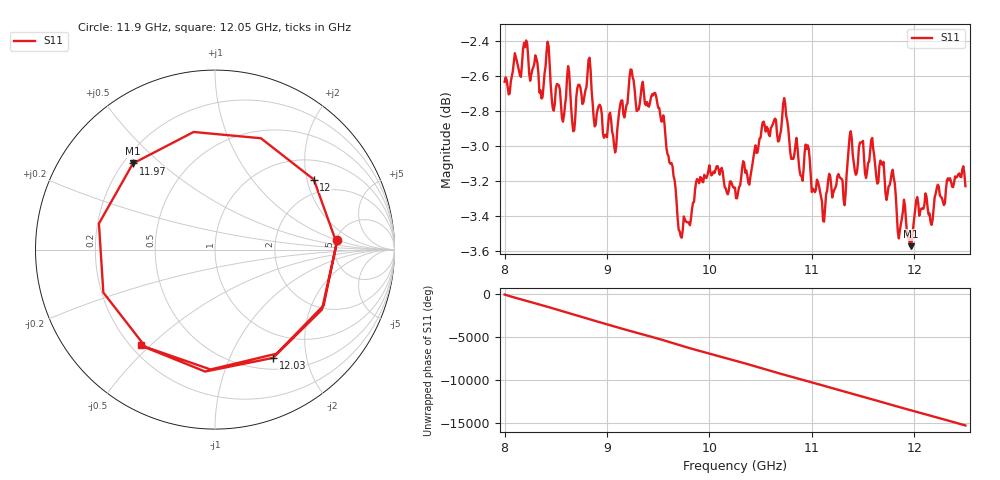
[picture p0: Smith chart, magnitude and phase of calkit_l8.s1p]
#  HZ  S  RI  R  50.00
! Rohde & Schwarz Vector Network Analyzer
! Rohde-Schwarz,ZNA43-4Port,1332450044101932,2.92
! Created: UTC 6/9/2026, 6:26:45 AM
! freq[Hz]  re:S11  im:S11
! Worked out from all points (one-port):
!   451 points, 8 GHz to 12.5 GHz, reference 50 ohm
!   lowest |S11| = -3.6 dB at 11.97 GHz (marker M1), VSWR 4.93, Z = 11.9 + j20.4 ohm
!   |S11| at or under -10 dB: nowhere
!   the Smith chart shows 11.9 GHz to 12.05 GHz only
!   S11 on the Smith chart (normalised r, x): 11.9 GHz: 5.10, +1.03; 11.97 GHz: 0.24, +0.41; 12 GHz: 1.54, +2.20; 12.03 GHz: 0.65, -1.47; 12.05 GHz: 0.24, -0.47
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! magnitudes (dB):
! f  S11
! 8 GHz  -2.6
! 8.2 GHz  -2.4
! 8.36 GHz  -2.7
! 8.42 GHz  -2.4
! 8.47 GHz  -2.8
! 8.57 GHz  -2.9
! 8.82 GHz  -2.5
! 8.98 GHz  -2.9
! 9.13 GHz  -2.8
! 9.24 GHz  -2.6
! 9.3 GHz  -2.8
! 9.47 GHz  -2.7
! 9.69 GHz  -3.4
! 10.07 GHz  -3.1
! 10.25 GHz  -3.2
! 10.73 GHz  -2.7
! 10.82 GHz  -3.1
! 10.96 GHz  -3.0
! 11.11 GHz  -3.4
! 11.32 GHz  -3.3
! 11.38 GHz  -2.9
! 11.9 GHz  -3.3
! 11.94 GHz  -3.5
! 11.97 GHz  -3.6
! 12 GHz  -3.4
! 12.03 GHz  -3.3
! 12.05 GHz  -3.4
! 12.5 GHz  -3.2
